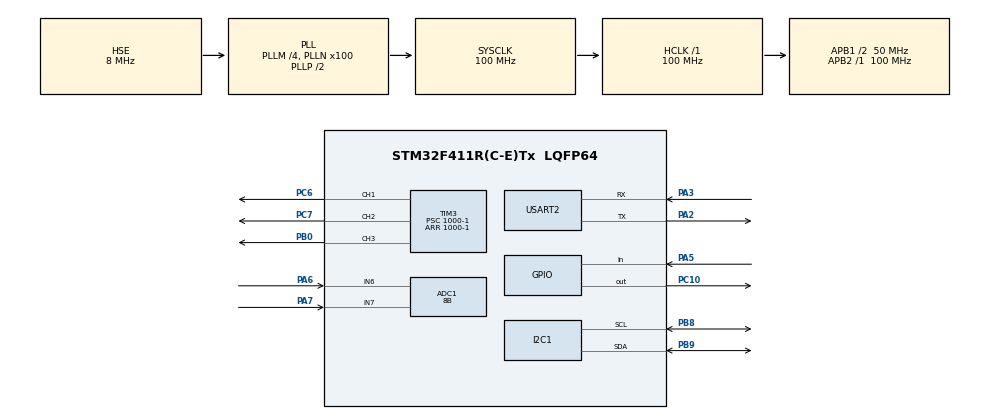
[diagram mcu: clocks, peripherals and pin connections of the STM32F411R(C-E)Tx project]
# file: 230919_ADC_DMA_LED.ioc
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ADC1.Channel-0\#ChannelRegularConversion=ADC_CHANNEL_7
ADC1.Channel-1\#ChannelRegularConversion=ADC_CHANNEL_6
ADC1.ContinuousConvMode=ENABLE
ADC1.DMAContinuousRequests=ENABLE
ADC1.NbrOfConversion=2
ADC1.NbrOfConversionFlag=1
ADC1.Rank-0\#ChannelRegularConversion=1
ADC1.Rank-1\#ChannelRegularConversion=2
ADC1.Resolution=ADC_RESOLUTION_8B
ADC1.SamplingTime-0\#ChannelRegularConversion=ADC_SAMPLETIME_112CYCLES
ADC1.SamplingTime-1\#ChannelRegularConversion=ADC_SAMPLETIME_112CYCLES
ADC1.ScanConvMode=ENABLE
ADC1.master=1
Dma.ADC1.0.Direction=DMA_PERIPH_TO_MEMORY
Dma.ADC1.0.FIFOMode=DMA_FIFOMODE_DISABLE
Dma.ADC1.0.Instance=DMA2_Stream0
Dma.ADC1.0.MemDataAlignment=DMA_MDATAALIGN_HALFWORD
Dma.ADC1.0.MemInc=DMA_MINC_ENABLE
Dma.ADC1.0.Mode=DMA_CIRCULAR
Dma.ADC1.0.PeriphDataAlignment=DMA_PDATAALIGN_HALFWORD
Dma.ADC1.0.PeriphInc=DMA_PINC_DISABLE
Dma.ADC1.0.Priority=DMA_PRIORITY_LOW
Dma.Request0=ADC1
Mcu.Family=STM32F4
Mcu.Name=STM32F411R(C-E)Tx
Mcu.Package=LQFP64
NVIC.DMA2_Stream0_IRQn=true\:0\:0\:false\:false\:true\:false\:true\:true
NVIC.PriorityGroup=NVIC_PRIORITYGROUP_4
PA13.Mode=Serial_Wire
PA13.Signal=SYS_JTMS-SWDIO
PA14.Mode=Serial_Wire
PA14.Signal=SYS_JTCK-SWCLK
PA2.Mode=Asynchronous
PA2.Signal=USART2_TX
PA3.Mode=Asynchronous
PA3.Signal=USART2_RX
PA5.GPIO_PuPd=GPIO_PULLUP
PA5.Signal=GPIO_Input
PA6.Signal=ADCx_IN6
PA7.Signal=ADCx_IN7
PB0.Signal=S_TIM3_CH3
PB8.Mode=I2C
PB8.Signal=I2C1_SCL
PB9.Mode=I2C
PB9.Signal=I2C1_SDA
PC10.Signal=GPIO_Output
PC6.Signal=S_TIM3_CH1
PC7.Signal=S_TIM3_CH2
PH0\ -\ OSC_IN.Mode=HSE-External-Oscillator
PH0\ -\ OSC_IN.Signal=RCC_OSC_IN
PH1\ -\ OSC_OUT.Mode=HSE-External-Oscillator
PH1\ -\ OSC_OUT.Signal=RCC_OSC_OUT
ProjectManager.HeapSize=0x200
ProjectManager.StackSize=0x400
ProjectManager.TargetToolchain=STM32CubeIDE
RCC.48MHZClocksFreq_Value=50000000
RCC.AHBFreq_Value=100000000
RCC.APB1CLKDivider=RCC_HCLK_DIV2
RCC.APB1Freq_Value=50000000
RCC.APB1TimFreq_Value=100000000
RCC.APB2Freq_Value=100000000
RCC.APB2TimFreq_Value=100000000
RCC.CortexFreq_Value=100000000
RCC.HCLKFreq_Value=100000000
RCC.HSE_VALUE=8000000
RCC.HSI_VALUE=16000000
RCC.LSE_VALUE=32768
RCC.PLLM=4
RCC.PLLN=100
RCC.PLLSourceVirtual=RCC_PLLSOURCE_HSE
RCC.SYSCLKFreq_VALUE=100000000
RCC.SYSCLKSource=RCC_SYSCLKSOURCE_PLLCLK
RCC.VCOOutputFreq_Value=200000000
SH.ADCx_IN6.0=ADC1_IN6,IN6
SH.ADCx_IN7.0=ADC1_IN7,IN7
SH.S_TIM3_CH1.0=TIM3_CH1,PWM Generation1 CH1
SH.S_TIM3_CH2.0=TIM3_CH2,PWM Generation2 CH2
SH.S_TIM3_CH3.0=TIM3_CH3,PWM Generation3 CH3
TIM3.Channel-PWM\ Generation1\ CH1=TIM_CHANNEL_1
TIM3.Channel-PWM\ Generation2\ CH2=TIM_CHANNEL_2
TIM3.Channel-PWM\ Generation3\ CH3=TIM_CHANNEL_3
TIM3.Period=1000-1
TIM3.Prescaler=1000-1
USART2.VirtualMode=VM_ASYNC
VP_TIM3_VS_ClockSourceINT.Mode=Internal
board=custom

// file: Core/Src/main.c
/* USER CODE BEGIN Header */
/**
  ******************************************************************************
  * @file           : main.c
  * @brief          : Main program body
  ******************************************************************************
  * @attention
  *
  * Copyright (c) 2023 STMicroelectronics.
  * All rights reserved.
  *
  * This software is licensed under terms that can be found in the LICENSE file
  * in the root directory of this software component.
  * If no LICENSE file comes with this software, it is provided AS-IS.
  *
  ******************************************************************************
  */
/* USER CODE END Header */
#include "main.h"
#include "adc.h"
#include "dma.h"
#include "i2c.h"
#include "tim.h"
#include "usart.h"
#include "gpio.h"

/* USER CODE BEGIN Includes */

#include "stdio.h"
#include "delay.h"
#include "I2C_LCD.h"

/* USER CODE END Includes */

/* USER CODE BEGIN PM */
#ifdef __GNUC__
  /* With GCC, small printf (option LD Linker->Libraries->Small printf
     set to 'Yes') calls __io_putchar() */
  #define PUTCHAR_PROTOTYPE int __io_putchar(int ch)
#else
  #define PUTCHAR_PROTOTYPE int fputc(int ch, FILE *f)
#endif /* __GNUC__ */
PUTCHAR_PROTOTYPE
{
  /* Place your implementation of fputc here */
  /* e.g. write a character to the EVAL_COM1 and Loop until the end of transmission */
  HAL_UART_Transmit(&huart2, (uint8_t *)&ch, 1, 0xFFFF);

  return ch;
}
/* USER CODE END PM */

/* USER CODE BEGIN PV */

// LCD
int row = 0;
int col = 0;

// ADC
uint16_t adcValue[2];
uint8_t state=1;
int color=0;
int ccr=500;

/* USER CODE END PV */

void SystemClock_Config(void);

/* USER CODE BEGIN 0 */
//void HAL_GPIO_EXTI_Callback(uint16_t GPIO_Pin){
//  if(GPIO_Pin == GPIO_PIN_5){
//    TIM3->CCR1 = 0;
//    TIM3->CCR2 = 0;
//    TIM3->CCR3 = 0;
//  }
//}
/* USER CODE END 0 */

int main(void)
{

  /* MCU Configuration--------------------------------------------------------*/

  /* Reset of all peripherals, Initializes the Flash interface and the Systick. */
  HAL_Init();

  /* Configure the system clock */
  SystemClock_Config();

  /* Initialize all configured peripherals */
  MX_GPIO_Init();
  MX_DMA_Init();
  MX_ADC1_Init();
  MX_USART2_UART_Init();
  MX_TIM3_Init();
  MX_I2C1_Init();
  /* USER CODE BEGIN 2 */
  // ADC
  HAL_ADC_Start_DMA(&hadc1, adcValue, 2);     // adcValue <- uint16_t but 32. 2: count of adcValue

  // TIM
  HAL_TIM_PWM_Start(&htim3, TIM_CHANNEL_1);
  HAL_TIM_PWM_Start(&htim3, TIM_CHANNEL_2);
  HAL_TIM_PWM_Start(&htim3, TIM_CHANNEL_3);

  TIM3->CCR1 = 0;
  TIM3->CCR2 = 0;
  TIM3->CCR3 = 0;

  // LCD
  uint16_t buff[30];

  lcd_init();
  lcd_put_cur(0, 3);
  lcd_send_string("Welcome ");
  lcd_put_cur(1, 5);
  lcd_send_string("Joystick!");
  HAL_Delay(2000);
  lcd_clear();

  /* USER CODE END 2 */

  /* Infinite loop */
  while (1)
{

    /* USER CODE BEGIN 3 */
    // Color
    char *Color[3]={ "Green", "Blue", "Red" };
    if(adcValue[0]>150){
     color=(color+1)%3;
      HAL_Delay(50);
    }
    else if(adcValue[0]<100){
      color--;
      if(color<0) color=3;
      HAL_Delay(50);
    }

    // bright
    ccr += (adcValue[1]-129);
    if(ccr>1000) ccr=999;
    else if(ccr<0) ccr=0;

    if(HAL_GPIO_ReadPin(GPIOA, GPIO_PIN_5) == GPIO_PIN_RESET) {   // pull-up
      HAL_Delay(50);
      HAL_GPIO_TogglePin(GPIOC, GPIO_PIN_10);
    }

    // Output
    switch (color){
      case 0:
        TIM3->CCR1 = ccr;
        TIM3->CCR2 = 0;
        TIM3->CCR3 = 0;
        break;
      case 1:
        TIM3->CCR1 = 0;
        TIM3->CCR2 = ccr;
        TIM3->CCR3 = 0;
        break;
      case 2:
        TIM3->CCR1 = 0;
        TIM3->CCR2 = 0;
        TIM3->CCR3 = ccr;
        break;
    }

    lcd_clear();
    sprintf(buff,"Color: %s", Color[color]);
    lcd_put_cur(0, 0);
    lcd_send_string(buff);
    sprintf(buff,"Brightness: %d", ccr);
    lcd_put_cur(1, 0);
    lcd_send_string(buff);

    HAL_Delay(300);
}
  /* USER CODE END 3 */
}

void SystemClock_Config(void)
{
  RCC_OscInitTypeDef RCC_OscInitStruct = {0};
  RCC_ClkInitTypeDef RCC_ClkInitStruct = {0};

  /** Configure the main internal regulator output voltage
  */
  __HAL_RCC_PWR_CLK_ENABLE();
  __HAL_PWR_VOLTAGESCALING_CONFIG(PWR_REGULATOR_VOLTAGE_SCALE1);

  /** Initializes the RCC Oscillators according to the specified parameters
  * in the RCC_OscInitTypeDef structure.
  */
  RCC_OscInitStruct.OscillatorType = RCC_OSCILLATORTYPE_HSE;
  RCC_OscInitStruct.HSEState = RCC_HSE_ON;
  RCC_OscInitStruct.PLL.PLLState = RCC_PLL_ON;
  RCC_OscInitStruct.PLL.PLLSource = RCC_PLLSOURCE_HSE;
  RCC_OscInitStruct.PLL.PLLM = 4;
  RCC_OscInitStruct.PLL.PLLN = 100;
  RCC_OscInitStruct.PLL.PLLP = RCC_PLLP_DIV2;
  RCC_OscInitStruct.PLL.PLLQ = 4;
  if (HAL_RCC_OscConfig(&RCC_OscInitStruct) != HAL_OK)
  {
    Error_Handler();
  }

  /** Initializes the CPU, AHB and APB buses clocks
  */
  RCC_ClkInitStruct.ClockType = RCC_CLOCKTYPE_HCLK|RCC_CLOCKTYPE_SYSCLK
                              |RCC_CLOCKTYPE_PCLK1|RCC_CLOCKTYPE_PCLK2;
  RCC_ClkInitStruct.SYSCLKSource = RCC_SYSCLKSOURCE_PLLCLK;
  RCC_ClkInitStruct.AHBCLKDivider = RCC_SYSCLK_DIV1;
  RCC_ClkInitStruct.APB1CLKDivider = RCC_HCLK_DIV2;
  RCC_ClkInitStruct.APB2CLKDivider = RCC_HCLK_DIV1;

  if (HAL_RCC_ClockConfig(&RCC_ClkInitStruct, FLASH_LATENCY_3) != HAL_OK)
  {
    Error_Handler();
  }
}

void Error_Handler(void)
{
  __disable_irq();
  while (1)
  {
  }
}
